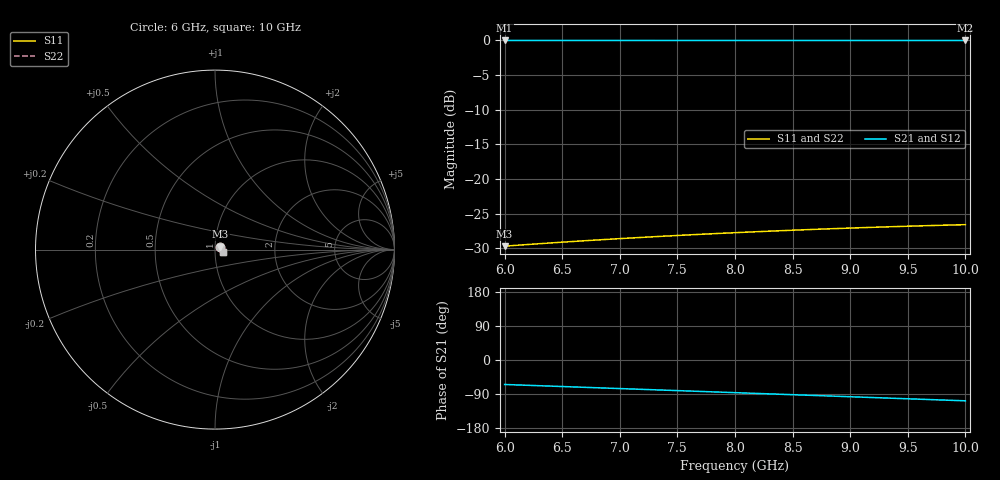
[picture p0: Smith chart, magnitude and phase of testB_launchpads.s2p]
! Touchstone file exported from HFSS 2024.2.0
!  File:  C:/Users/artho/Documents/Ansoft/ansys_testB.aedt
!  Generated:  01:09:47 AM Sep  7, 2026
!  Design:  HFSS_8JY
!  Project:  ansys_testB
!  Setup:  Setup1
!  Solution:  Sweep1
!Data is not renormalized
# GHz S MA
! Terminal data exported
! Port[1] = p1
! Port[2] = p2
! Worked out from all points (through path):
!   41 points, 6 GHz to 10 GHz, reference per port
!   highest |S21| = 0.00 dB at 6 GHz (marker M1); lowest = 0.0 dB at 10 GHz (marker M2)
!   group delay of S21, straight-line fit = 29.9 ps
!   lowest |S11| = -29.7 dB at 6 GHz (marker M3), VSWR 1.07
!   |S11| at or under -10 dB: start of sweep to end of sweep
!   |S22| runs from -29.7 to -26.6 dB; largest |S21 - S12| = 1.1e-15
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6  0.03279 28.0  0.9995 -64.6  0.9995 -64.6  0.03279 22.7
6.2  0.0337 25.7  0.9994 -66.8  0.9994 -66.8  0.03371 20.8
6.4  0.0346 23.4  0.9994 -68.9  0.9994 -68.9  0.0346 18.8
6.7  0.0359 19.9  0.9994 -72.2  0.9994 -72.2  0.0359 15.8
6.9  0.03675 17.6  0.9993 -74.3  0.9993 -74.3  0.03675 13.8
7.1  0.03758 15.3  0.9993 -76.5  0.9993 -76.5  0.03758 11.8
7.3  0.03838 13.0  0.9993 -78.6  0.9993 -78.6  0.03838 9.8
7.4  0.03878 11.8  0.9992 -79.7  0.9992 -79.7  0.03878 8.8
7.6  0.03955 9.5  0.9992 -81.9  0.9992 -81.9  0.03955 6.8
7.7  0.03993 8.4  0.9992 -82.9  0.9992 -82.9  0.03993 5.7
7.9  0.04067 6.1  0.9992 -85.1  0.9992 -85.1  0.04067 3.7
8  0.04103 5.0  0.9992 -86.2  0.9992 -86.2  0.04103 2.7
8.2  0.04173 2.7  0.9991 -88.3  0.9991 -88.3  0.04173 0.7
8.4  0.04241 0.4  0.9991 -90.5  0.9991 -90.5  0.04241 -1.4
8.5  0.04274 -0.7  0.9991 -91.6  0.9991 -91.6  0.04274 -2.4
8.7  0.04338 -3.0  0.9991 -93.7  0.9991 -93.7  0.04339 -4.5
8.8  0.04369 -4.1  0.999 -94.8  0.999 -94.8  0.0437 -5.5
9  0.0443 -6.4  0.999 -97.0  0.999 -97.0  0.0443 -7.6
9.2  0.04487 -8.6  0.999 -99.1  0.999 -99.1  0.04487 -9.6
9.4  0.04542 -10.9  0.999 -101.3  0.999 -101.3  0.04542 -11.7
9.7  0.04618 -14.2  0.9989 -104.5  0.9989 -104.5  0.04618 -14.8
10  0.04688 -17.6  0.9989 -107.7  0.9989 -107.7  0.04688 -17.9
